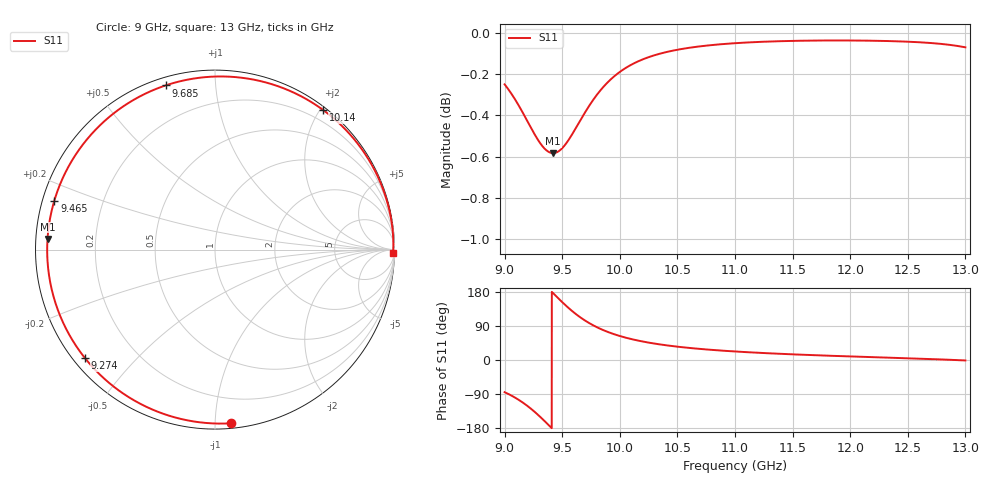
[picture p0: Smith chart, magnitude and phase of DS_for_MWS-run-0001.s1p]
! TOUCHSTONE file generated by CST DESIGN STUDIO
! Date and time: Tue Feb  4 13:27:48 2025
! Project name: C:\Work\MatlabApps\UnitCellOptimizationMatlab\CST\unitcell.cst
! Tree item: Tasks\Sweep1\SPara1\S-Parameters
! Header version: 2024
! Port assignment regex: !\s*Touchstone port\s*([0-9]+)\s*=\s*(CST MWS port|CST DES external port|CST DES block port)\s*(.+)\s* \(\"(.*)\"\)(\s*mode\s*([0-9]+))?.*
! Touchstone port assignment:
! Touchstone port 1 = CST DES external port 1 ("")
# GHz S MA R 50
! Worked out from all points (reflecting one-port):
!   4001 points, 9 GHz to 13 GHz, reference 50 ohm
!   lowest |S11| = -0.6 dB at 9.421 GHz (marker M1), VSWR 29.78, Z = 1.68 + j1.57 ohm
!   phase of S11 starts at -85 deg and turns -276 deg over the sweep
!   S11 on the Smith chart (normalised r, x): 9 GHz: 0.03, -1.09; 9.274 GHz: 0.03, -0.36; 9.465 GHz: 0.03, +0.15; 9.685 GHz: 0.04, +0.74; 10.14 GHz: 0.04, +2.04; 13 GHz: 33, -84
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9  0.9717 -84.9
9.082  0.9644 -97.7
9.151  0.9572 -110.9
9.214  0.9501 -125.0
9.274  0.9435 -140.3
9.315  0.9397 -151.8
9.352  0.9371 -162.6
9.387  0.9355 -173.2
9.421  0.935 176.4
9.465  0.9358 163.0
9.5  0.9376 152.7
9.546  0.9411 139.7
9.591  0.9454 128.0
9.637  0.9502 117.0
9.685  0.9552 106.7
9.755  0.9621 93.8
9.839  0.969 81.2
9.917  0.9742 71.6
10  0.9785 63.3
10.143  0.9838 52.3
10.304  0.9877 43.2
10.5  0.9907 35.2
10.723  0.9928 28.5
11  0.9944 22.5
11.5  0.9956 14.9
12  0.9959 9.4
12.5  0.9952 4.5
13  0.9921 -1.2
